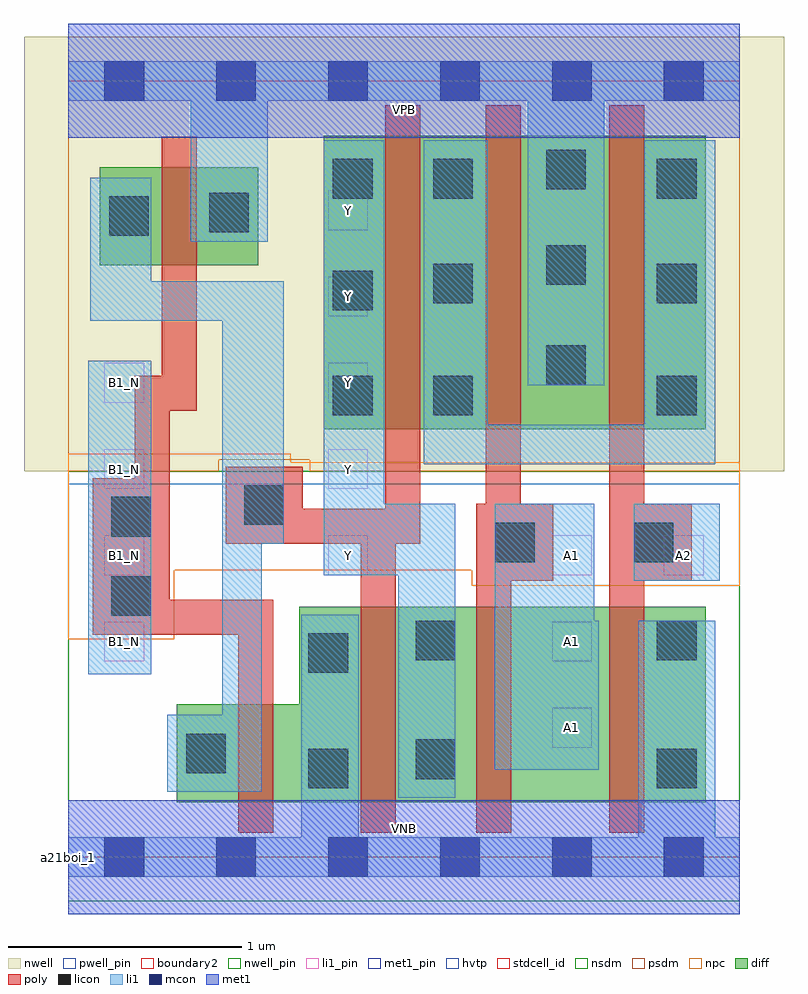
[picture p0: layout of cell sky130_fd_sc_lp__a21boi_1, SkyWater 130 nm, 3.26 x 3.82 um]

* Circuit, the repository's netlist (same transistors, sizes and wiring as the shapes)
* Copyright 2020 The SkyWater PDK Authors
*
* Licensed under the Apache License, Version 2.0 (the "License");
* you may not use this file except in compliance with the License.
* You may obtain a copy of the License at
*
*     https://www.apache.org/licenses/LICENSE-2.0
*
* Unless required by applicable law or agreed to in writing, software
* distributed under the License is distributed on an "AS IS" BASIS,
* WITHOUT WARRANTIES OR CONDITIONS OF ANY KIND, either express or implied.
* See the License for the specific language governing permissions and
* limitations under the License.
*
* SPDX-License-Identifier: Apache-2.0

.SUBCKT sky130_fd_sc_lp__a21boi_1 A1 A2 B1_N VGND VNB VPB VPWR Y
*.PININFO A1:I A2:I B1_N:I VGND:I VNB:I VPB:I VPWR:I Y:O
MMPA0 net38 A1 VPWR VPB sky130_fd_pr__pfet_01v8_hvt m=1 w=1.26U l=0.15U mult=1
+ sa=0.265 sb=0.265 sd=0.28 area=0.063 perim=1.14
MMPA1 net38 A2 VPWR VPB sky130_fd_pr__pfet_01v8_hvt m=1 w=1.26U l=0.15U mult=1
+ sa=0.265 sb=0.265 sd=0.28 area=0.063 perim=1.14
MMPB0 Y B1 net38 VPB sky130_fd_pr__pfet_01v8_hvt m=1 w=1.26U l=0.15U mult=1 sa=0.265
+ sb=0.265 sd=0.28 area=0.063 perim=1.14
MMIPB1N B1 B1_N VPWR VPB sky130_fd_pr__pfet_01v8_hvt m=1 w=0.42U l=0.15U mult=1
+ sa=0.265 sb=0.265 sd=0.28 area=0.063 perim=1.14
MMNA0 Y A1 sndA1 VNB sky130_fd_pr__nfet_01v8 m=1 w=0.84U l=0.15U mult=1 sa=0.265
+ sb=0.265 sd=0.28 area=0.063 perim=1.14
MMNA1 sndA1 A2 VGND VNB sky130_fd_pr__nfet_01v8 m=1 w=0.84U l=0.15U mult=1 sa=0.265
+ sb=0.265 sd=0.28 area=0.063 perim=1.14
MMNB0 Y B1 VGND VNB sky130_fd_pr__nfet_01v8 m=1 w=0.84U l=0.15U mult=1 sa=0.265
+ sb=0.265 sd=0.28 area=0.063 perim=1.14
MMINB1N B1 B1_N VGND VNB sky130_fd_pr__nfet_01v8 m=1 w=0.42U l=0.15U mult=1 sa=0.265
+ sb=0.265 sd=0.28 area=0.063 perim=1.14
.ENDS sky130_fd_sc_lp__a21boi_1

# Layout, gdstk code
import gdstk
lib = gdstk.Library(unit=1e-6, precision=1e-09)
def R(c, l, rs):  # rectangles x0, y0, x1, y1
    for r in rs: c.add(gdstk.rectangle(r[:2], r[2:], *l))
def A(c, l, x, y, w, h, nx, ny, dx, dy):  # array of equal rectangles
    R(c, l, [(x+i*dx, y+j*dy, x+i*dx+w, y+j*dy+h) for i in range(nx) for j in range(ny)])
def P(c, l, *ps):  # polygons
    for p in ps: c.add(gdstk.Polygon(p, *l))
nwell_pin = (64, 16)
nwell = (64, 20)
diff = (65, 20)
poly = (66, 20)
licon = (66, 44)
li1_pin = (67, 16)
li1 = (67, 20)
mcon = (67, 44)
met1_pin = (68, 16)
met1 = (68, 20)
hvtp = (78, 44)
stdcell_id = (81, 4)
nsdm = (93, 44)
psdm = (94, 20)
npc = (95, 20)
pwell_pin = (122, 16)
boundary2 = (236, 0)

sky130_fd_sc_lp__a21boi_ = lib.new_cell('sky130_fd_sc_lp__a21boi_1')
R(sky130_fd_sc_lp__a21boi_, nwell_pin, [(0,3.085,2.88,3.33)])
R(sky130_fd_sc_lp__a21boi_, nwell, [(-0.19,1.655,3.07,3.52)])
R(sky130_fd_sc_lp__a21boi_, diff, [(1.095,1.835,2.735,3.095), (0.135,2.54,0.815,2.96)])
P(sky130_fd_sc_lp__a21boi_, diff, [(2.735,1.075),(0.99,1.075),(0.99,0.655),(0.465,0.655),(0.465,0.235),(2.735,0.235)])
P(sky130_fd_sc_lp__a21boi_, poly, [(0.88,1.105),(0.435,1.105),(0.435,1.915),(0.55,1.915),(0.55,3.09),(0.4,3.09),(0.4,2.065),(0.285,2.065),(0.285,1.625),(0.105,1.625),(0.105,0.955),(0.73,0.955),(0.73,0.105),(0.88,0.105)],
  [(1.51,3.225),(1.36,3.225),(1.36,1.495),(1.005,1.495),(1.005,1.675),(0.675,1.675),(0.675,1.345),(1.255,1.345),(1.255,0.105),(1.405,0.105),(1.405,1.345),(1.51,1.345)],
  [(2.08,1.515),(1.94,1.515),(1.94,3.225),(1.79,3.225),(1.79,1.515),(1.75,1.515),(1.75,0.105),(1.9,0.105),(1.9,1.185),(2.08,1.185)],
  [(2.675,1.515),(2.47,1.515),(2.47,3.225),(2.32,3.225),(2.32,0.105),(2.47,0.105),(2.47,1.185),(2.675,1.185)])
R(sky130_fd_sc_lp__a21boi_, licon, [(1.03,0.295,1.2,0.465), (2.525,0.295,2.695,0.465), (1.49,0.335,1.66,0.505), (0.505,0.36,0.675,0.53), (1.03,0.79,1.2,0.96), (1.49,0.845,1.66,1.015), (2.525,0.845,2.695,1.015), (0.185,1.035,0.355,1.205), (1.83,1.265,2,1.435), (2.425,1.265,2.595,1.435), (0.185,1.375,0.355,1.545), (0.755,1.425,0.925,1.595), (1.135,1.895,1.305,2.065), (1.565,1.895,1.735,2.065), (2.525,1.895,2.695,2.065), (2.05,2.025,2.22,2.195), (1.135,2.345,1.305,2.515), (1.565,2.375,1.735,2.545), (2.525,2.375,2.695,2.545), (2.05,2.455,2.22,2.625), (0.175,2.665,0.345,2.835), (0.605,2.68,0.775,2.85), (1.135,2.825,1.305,2.995), (1.565,2.825,1.735,2.995), (2.525,2.825,2.695,2.995), (2.05,2.865,2.22,3.035)])
A(sky130_fd_sc_lp__a21boi_, li1_pin, 0.155, 1.21, 0.17, 0.17, 3, 1, 0.96, 0)
A(sky130_fd_sc_lp__a21boi_, li1_pin, 1.115, 1.58, 0.17, 0.17, 1, 4, 0, 0.37)
R(sky130_fd_sc_lp__a21boi_, li1_pin, [(2.075,0.47,2.245,0.64), (0.155,0.84,0.325,1.01), (2.075,0.84,2.245,1.01), (2.555,1.21,2.725,1.38), (0.155,1.58,0.325,1.75), (0.155,1.95,0.325,2.12)])
R(sky130_fd_sc_lp__a21boi_, li1, [(0.085,0.785,0.355,2.13), (2.425,1.185,2.795,1.515)])
P(sky130_fd_sc_lp__a21boi_, li1, [(0.525,2.64),(0.525,3.245),(0,3.245),(0,3.415),(2.88,3.415),(2.88,3.245),(2.3,3.245),(2.3,2.025),(1.97,2.025),(1.97,3.245),(0.855,3.245),(0.855,2.64)],
  [(2.445,0.085),(2.445,1.015),(2.775,1.015),(2.775,0.085),(2.88,0.085),(2.88,-0.085),(0,-0.085),(0,0.085),(1,0.085),(1,1.04),(1.245,1.04),(1.245,0.085)],
  [(1.415,0.255),(1.415,1.21),(1.095,1.21),(1.095,3.075),(1.355,3.075),(1.355,1.515),(1.66,1.515),(1.66,0.255)],
  [(0.425,0.28),(0.425,0.61),(0.66,0.61),(0.66,2.3),(0.095,2.3),(0.095,2.915),(0.355,2.915),(0.355,2.47),(0.925,2.47),(0.925,1.345),(0.83,1.345),(0.83,0.28)],
  [(1.8,1.855),(2.47,1.855),(2.47,3.075),(2.775,3.075),(2.775,1.685),(1.525,1.685),(1.525,3.075),(1.8,3.075)],
  [(2.275,1.015),(2.255,1.015),(2.255,1.515),(1.83,1.515),(1.83,0.375),(2.275,0.375)])
A(sky130_fd_sc_lp__a21boi_, mcon, 0.155, -0.085, 0.17, 0.17, 6, 2, 0.48, 3.33)
R(sky130_fd_sc_lp__a21boi_, met1_pin, [(0,0,2.88,0.245), (0,3.085,2.88,3.33)])
R(sky130_fd_sc_lp__a21boi_, met1, [(0,-0.245,2.88,0.245), (0,3.085,2.88,3.575)])
R(sky130_fd_sc_lp__a21boi_, hvtp, [(0,1.6,2.88,3.33)])
R(sky130_fd_sc_lp__a21boi_, stdcell_id, [(0,0,2.88,3.33)])
R(sky130_fd_sc_lp__a21boi_, nsdm, [(0,-0.19,2.88,1.655)])
P(sky130_fd_sc_lp__a21boi_, psdm, [(2.88,3.52),(0,3.52),(0,1.655),(0.645,1.655),(0.645,1.705),(1.035,1.705),(1.035,1.655),(2.88,1.655)])
P(sky130_fd_sc_lp__a21boi_, npc, [(2.88,1.695),(0.955,1.695),(0.955,1.73),(0,1.73),(0,0.935),(0.455,0.935),(0.455,1.23),(1.73,1.23),(1.73,1.165),(2.88,1.165)])
R(sky130_fd_sc_lp__a21boi_, pwell_pin, [(0,0,2.88,0.245)])
R(sky130_fd_sc_lp__a21boi_, boundary2, [(0,0,2.88,3.33)])
sky130_fd_sc_lp__a21boi_.add(gdstk.Label('VNB', (1.44,0.123), layer=64, texttype=59))
sky130_fd_sc_lp__a21boi_.add(gdstk.Label('VPB', (1.44,3.208), layer=64, texttype=5))
sky130_fd_sc_lp__a21boi_.add(gdstk.Label('a21boi_1', (0,0), layer=83, texttype=44))
sky130_fd_sc_lp__a21boi_.add(gdstk.Label('VPWR', (1.44,3.208), layer=68, texttype=5))
sky130_fd_sc_lp__a21boi_.add(gdstk.Label('VGND', (1.44,0.123), layer=68, texttype=5))
sky130_fd_sc_lp__a21boi_.add(gdstk.Label('A1', (2.16,0.555), layer=67, texttype=5))
sky130_fd_sc_lp__a21boi_.add(gdstk.Label('A1', (2.16,0.925), layer=67, texttype=5))
sky130_fd_sc_lp__a21boi_.add(gdstk.Label('A1', (2.16,1.295), layer=67, texttype=5))
sky130_fd_sc_lp__a21boi_.add(gdstk.Label('Y', (1.2,1.295), layer=67, texttype=5))
sky130_fd_sc_lp__a21boi_.add(gdstk.Label('Y', (1.2,1.665), layer=67, texttype=5))
sky130_fd_sc_lp__a21boi_.add(gdstk.Label('Y', (1.2,2.035), layer=67, texttype=5))
sky130_fd_sc_lp__a21boi_.add(gdstk.Label('Y', (1.2,2.405), layer=67, texttype=5))
sky130_fd_sc_lp__a21boi_.add(gdstk.Label('Y', (1.2,2.775), layer=67, texttype=5))
sky130_fd_sc_lp__a21boi_.add(gdstk.Label('A2', (2.64,1.295), layer=67, texttype=5))
sky130_fd_sc_lp__a21boi_.add(gdstk.Label('B1_N', (0.24,0.925), layer=67, texttype=5))
sky130_fd_sc_lp__a21boi_.add(gdstk.Label('B1_N', (0.24,1.295), layer=67, texttype=5))
sky130_fd_sc_lp__a21boi_.add(gdstk.Label('B1_N', (0.24,1.665), layer=67, texttype=5))
sky130_fd_sc_lp__a21boi_.add(gdstk.Label('B1_N', (0.24,2.035), layer=67, texttype=5))

lib.write_gds('sky130_fd_sc_lp__a21boi_1.gds')
